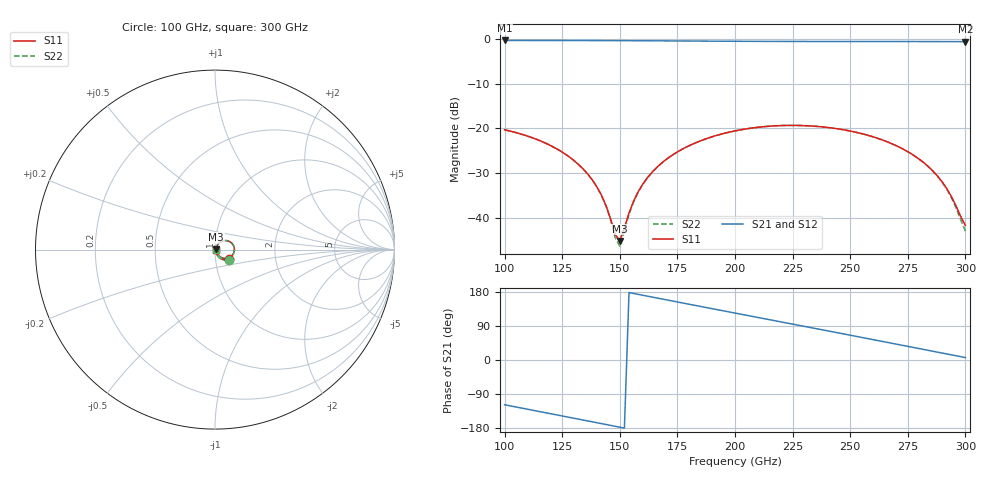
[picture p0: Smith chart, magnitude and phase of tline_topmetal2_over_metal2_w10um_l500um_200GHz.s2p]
#  GHZ S DB R 50
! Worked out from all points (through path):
!   101 points, 100 GHz to 300 GHz, reference 50 ohm
!   highest |S21| = -0.35 dB at 100 GHz (marker M1); lowest = -0.6 dB at 300 GHz (marker M2)
!   group delay of S21, straight-line fit = 3.26 ps
!   lowest |S11| = -45.1 dB at 150 GHz (marker M3), VSWR 1.01, Z = 50.6 + j0.0622 ohm
!   |S11| at or under -10 dB: start of sweep to end of sweep
!   |S22| runs from -46.3 to -19.3 dB; largest |S21 - S12| = 1.1e-14
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100  -20.31 -34.8  -0.35 -118.2  -0.35 -118.2  -20.30 -35.3
120  -23.85 -55.3  -0.36 -141.8  -0.36 -141.8  -23.84 -56.1
134  -29.02 -66.9  -0.37 -158.4  -0.37 -158.4  -29.01 -68.3
138  -31.47 -68.4  -0.37 -163.1  -0.37 -163.1  -31.47 -70.2
142  -34.89 -67.0  -0.38 -167.8  -0.38 -167.8  -34.93 -69.6
146  -40.20 -55.2  -0.39 -172.6  -0.39 -172.6  -40.45 -59.3
148  -43.71 -34.6  -0.39 -175.0  -0.39 -175.0  -44.42 -39.3
150  -45.12 6.4  -0.39 -177.3  -0.39 -177.3  -46.31 6.3
154  -38.88 53.3  -0.40 177.9  -0.40 177.9  -39.19 55.9
158  -34.13 61.5  -0.41 173.2  -0.41 173.2  -34.24 63.0
162  -31.00 62.0  -0.42 168.5  -0.42 168.5  -31.07 63.0
168  -27.80 58.9  -0.44 161.4  -0.44 161.4  -27.84 59.4
182  -23.41 46.5  -0.48 144.9  -0.48 144.9  -23.43 46.6
200  -20.55 27.8  -0.53 123.9  -0.53 123.9  -20.56 27.6
218  -19.41 8.0  -0.56 102.9  -0.56 102.9  -19.42 7.6
234  -19.49 -9.7  -0.58 84.2  -0.58 84.2  -19.50 -10.2
250  -20.58 -27.0  -0.58 65.4  -0.58 65.4  -20.59 -27.8
268  -23.40 -45.5  -0.59 44.2  -0.59 44.2  -23.41 -46.6
280  -26.88 -55.7  -0.60 30.1  -0.60 30.1  -26.91 -57.5
288  -30.70 -59.1  -0.60 20.6  -0.60 20.6  -30.78 -61.7
294  -35.29 -54.1  -0.61 13.5  -0.61 13.5  -35.54 -58.2
300  -41.65 -14.3  -0.62 6.4  -0.62 6.4  -42.94 -17.7
